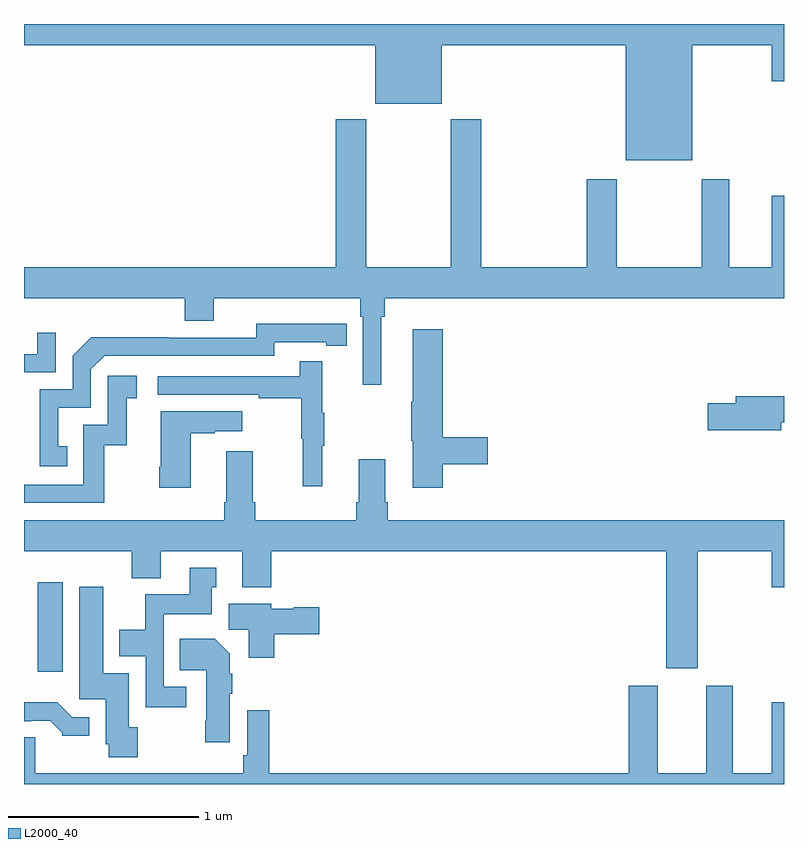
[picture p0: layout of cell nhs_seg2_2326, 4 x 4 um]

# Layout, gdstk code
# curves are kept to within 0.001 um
import gdstk
lib = gdstk.Library(unit=1e-6, precision=1e-09)
def R(c, l, rs):  # rectangles x0, y0, x1, y1
    for r in rs: c.add(gdstk.rectangle(r[:2], r[2:], *l))
def P(c, l, *ps):  # polygons
    for p in ps: c.add(gdstk.Polygon(p, *l))
L2000_40 = (2000, 40)

nhs_seg2_2326 = lib.new_cell('nhs_seg2_2326')
R(nhs_seg2_2326, L2000_40, [(233.072,592.392,233.203,592.861)])
P(nhs_seg2_2326, L2000_40, [(233,595.688),(234.848,595.688),(234.848,595.379),(235.198,595.379),(235.198,595.688),(236.168,595.688),(236.168,595.082),(236.518,595.082),(236.518,595.688),(236.936,595.688),(236.936,595.5),(237,595.5),(237,595.8),(233,595.8)],
  [(234.88,594.26),(234.899,594.26),(234.899,594.356),(237,594.356),(237,594.895),(236.936,594.895),(236.936,594.52),(236.713,594.52),(236.713,594.982),(236.566,594.982),(236.566,594.52),(236.121,594.52),(236.121,594.982),(235.961,594.982),(235.961,594.52),(235.406,594.52),(235.406,595.3),(235.246,595.3),(235.246,594.52),(234.801,594.52),(234.801,595.3),(234.641,595.3),(234.641,594.52),(233,594.52),(233,594.356),(233.846,594.356),(233.846,594.239),(233.998,594.239),(233.998,594.356),(234.77,594.356),(234.77,594.26),(234.783,594.26),(234.783,593.901),(234.88,593.901)],
  [(233.228,593.577),(233.179,593.577),(233.179,593.781),(233.352,593.781),(233.352,593.982),(233.424,594.054),(234.318,594.054),(234.318,594.126),(234.59,594.126),(234.59,594.106),(234.698,594.106),(234.698,594.222),(234.222,594.223),(234.222,594.15),(233.762,594.15),(233.762,594.152),(233.354,594.152),(233.256,594.054),(233.256,593.877),(233.082,593.877),(233.082,593.472),(233.228,593.472)],
  [(235.205,593.482),(235.441,593.482),(235.441,593.624),(235.205,593.624),(235.205,594.193),(235.046,594.193),(235.046,593.813),(235.039,593.813),(235.039,593.607),(235.046,593.607),(235.046,593.358),(235.205,593.358)],
  [(233.166,594.175),(233.069,594.175),(233.069,594.063),(233,594.063),(233,593.967),(233.166,593.967)],
  [(234.569,593.579),(234.58,593.579),(234.58,593.753),(234.569,593.753),(234.569,594.025),(234.451,594.025),(234.451,593.946),(233.703,593.946),(233.703,593.85),(234.235,593.85),(234.235,593.83),(234.459,593.83),(234.459,593.616),(234.466,593.616),(234.466,593.367),(234.569,593.367)],
  [(233.422,593.583),(233.54,593.583),(233.54,593.829),(233.593,593.829),(233.593,593.95),(233.442,593.95),(233.442,593.691),(233.313,593.691),(233.313,593.376),(233,593.376),(233,593.28),(233.422,593.28)],
  [(236.986,593.704),(237,593.704),(237,593.84),(236.747,593.84),(236.747,593.804),(236.598,593.804),(236.598,593.662),(236.986,593.662)],
  [(233.878,593.647),(234.005,593.647),(234.005,593.657),(234.148,593.657),(234.148,593.761),(233.72,593.761),(233.72,593.47),(233.713,593.47),(233.713,593.358),(233.878,593.358)],
  [(236.545,593.024),(236.936,593.024),(236.936,592.836),(237,592.836),(237,593.188),(234.914,593.188),(234.914,593.284),(234.901,593.284),(234.901,593.509),(234.761,593.509),(234.761,593.284),(234.749,593.284),(234.749,593.188),(234.218,593.188),(234.218,593.284),(234.205,593.284),(234.205,593.551),(234.065,593.551),(234.065,593.284),(234.053,593.284),(234.053,593.188),(233,593.188),(233,593.024),(233.567,593.024),(233.567,592.883),(233.719,592.883),(233.719,593.024),(234.149,593.024),(234.149,592.835),(234.302,592.835),(234.302,593.024),(236.381,593.024),(236.381,592.41),(236.545,592.41)],
  [(233.854,592.311),(233.736,592.311),(233.736,592.694),(233.989,592.694),(233.989,592.836),(234.013,592.836),(234.013,592.939),(233.873,592.939),(233.873,592.798),(233.638,592.798),(233.638,592.612),(233.501,592.612),(233.501,592.472),(233.64,592.472),(233.64,592.203),(233.854,592.203)],
  [(233.598,592.098),(233.551,592.098),(233.551,592.384),(233.416,592.384),(233.416,592.837),(233.291,592.837),(233.291,592.245),(233.429,592.245),(233.429,592.008),(233.446,592.008),(233.446,591.942),(233.598,591.942)],
  [(234.317,592.589),(234.553,592.589),(234.553,592.731),(234.42,592.731),(234.42,592.723),(234.3,592.723),(234.3,592.75),(234.077,592.75),(234.077,592.612),(234.182,592.612),(234.182,592.464),(234.317,592.464)],
  [(234.082,592.276),(234.095,592.276),(234.095,592.379),(234.082,592.379),(234.082,592.486),(234.004,592.564),(233.821,592.564),(233.821,592.4),(233.96,592.4),(233.96,592.132),(233.953,592.132),(233.953,592.02),(234.082,592.02)],
  [(237,592.231),(236.936,592.231),(236.936,591.856),(236.731,591.856),(236.731,592.318),(236.591,592.318),(236.591,591.856),(236.335,591.856),(236.335,592.318),(236.183,592.318),(236.183,591.856),(234.29,591.856),(234.29,592.189),(234.174,592.189),(234.174,591.952),(234.154,591.952),(234.154,591.856),(233.059,591.856),(233.059,592.046),(233,592.046),(233,591.8),(237,591.8)],
  [(233.344,592.152),(233.253,592.152),(233.175,592.231),(233,592.231),(233,592.131),(233.039,592.131),(233.039,592.134),(233.138,592.134),(233.202,592.07),(233.202,592.055),(233.344,592.055)])

lib.write_gds('nhs_seg2_2326.gds')
